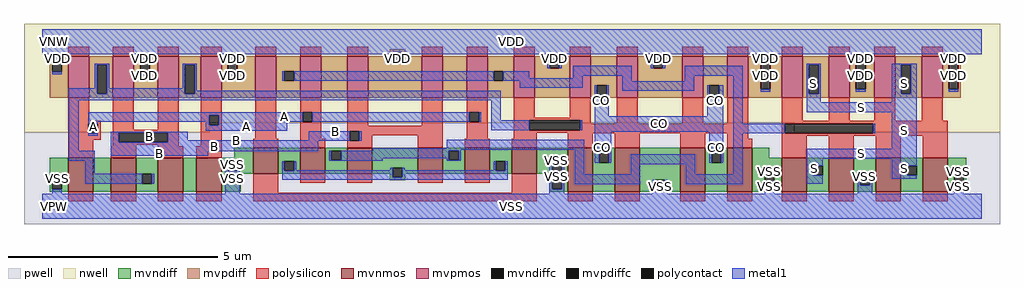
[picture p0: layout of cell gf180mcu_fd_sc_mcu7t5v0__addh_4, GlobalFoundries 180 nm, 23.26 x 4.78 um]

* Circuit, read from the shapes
.subckt gf180mcu_fd_sc_mcu7t5v0__addh_4 A B CO S VDD VNW VPW VSS
XM1 n1 A VSS VPW nfet_06v0 w=0.82u l=0.6u
XM2 n2 B n1 VPW nfet_06v0 w=0.82u l=0.6u
XM3 n3 B n2 VPW nfet_06v0 w=0.82u l=0.6u
XM4 VSS A n3 VPW nfet_06v0 w=0.82u l=0.6u
XM5 n4 n2 VSS VPW nfet_06v0 w=0.61u l=0.6u m=2
XM6 n5 A n4 VPW nfet_06v0 w=0.61u l=0.6u m=2
XM7 n4 B n5 VPW nfet_06v0 w=0.61u l=0.6u m=2
XM8 CO n2 VSS VPW nfet_06v0 w=1.05u l=0.6u m=4
XM9 S n5 VSS VPW nfet_06v0 w=0.82u l=0.6u m=4
XM10 n2 A VDD VNW pfet_06v0 w=0.99u l=0.5u m=2
XM11 VDD B n2 VNW pfet_06v0 w=0.99u l=0.5u m=2
XM12 n5 n2 VDD VNW pfet_06v0 w=0.99u l=0.5u m=2
XM13 n6 A n5 VNW pfet_06v0 w=0.99u l=0.5u
XM14 VDD B n6 VNW pfet_06v0 w=0.99u l=0.5u
XM15 n7 B VDD VNW pfet_06v0 w=0.99u l=0.5u
XM16 n5 A n7 VNW pfet_06v0 w=0.99u l=0.5u
XM17 CO n2 VDD VNW pfet_06v0 w=0.99u l=0.5u m=4
XM18 S n5 VDD VNW pfet_06v0 w=0.99u l=0.5u m=4
.ends

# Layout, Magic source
magic
tech gf180mcuD
magscale 1 10
<< nwell >>
rect -86 398 4566 870
rect -86 352 796 398
rect 3586 352 4566 398
<< pwell >>
rect 796 352 3586 398
rect -86 -86 4566 352
<< mvnmos >>
rect 124 68 244 232
rect 328 68 448 232
rect 552 68 672 232
rect 736 68 856 232
rect 1006 156 1126 278
rect 1230 156 1350 278
rect 1454 156 1574 278
rect 1790 156 1910 278
rect 2014 156 2134 278
rect 2238 156 2358 278
rect 2506 68 2626 278
rect 2730 68 2850 278
rect 3042 68 3162 278
rect 3266 68 3386 278
rect 3526 68 3646 232
rect 3750 68 3870 232
rect 3974 68 4094 232
rect 4198 68 4318 232
<< mvpmos >>
rect 124 518 224 716
rect 338 518 438 716
rect 552 518 652 716
rect 756 518 856 716
rect 1016 518 1116 716
rect 1230 518 1330 716
rect 1454 518 1554 716
rect 1810 518 1910 716
rect 2024 518 2124 716
rect 2248 518 2348 716
rect 2516 518 2616 716
rect 2740 518 2840 716
rect 3052 518 3152 716
rect 3266 518 3366 716
rect 3526 518 3626 716
rect 3750 518 3850 716
rect 3966 518 4066 716
rect 4192 518 4292 716
<< mvndiff >>
rect 916 232 1006 278
rect 36 127 124 232
rect 36 81 49 127
rect 95 81 124 127
rect 36 68 124 81
rect 244 68 328 232
rect 448 154 552 232
rect 448 108 477 154
rect 523 108 552 154
rect 448 68 552 108
rect 672 68 736 232
rect 856 215 1006 232
rect 856 169 885 215
rect 931 169 1006 215
rect 856 156 1006 169
rect 1126 215 1230 278
rect 1126 169 1155 215
rect 1201 169 1230 215
rect 1126 156 1230 169
rect 1350 265 1454 278
rect 1350 219 1379 265
rect 1425 219 1454 265
rect 1350 156 1454 219
rect 1574 183 1790 278
rect 1574 156 1671 183
rect 856 68 946 156
rect 1658 137 1671 156
rect 1717 156 1790 183
rect 1910 265 2014 278
rect 1910 219 1939 265
rect 1985 219 2014 265
rect 1910 156 2014 219
rect 2134 215 2238 278
rect 2134 169 2163 215
rect 2209 169 2238 215
rect 2134 156 2238 169
rect 2358 221 2506 278
rect 2358 156 2431 221
rect 1717 137 1730 156
rect 1658 124 1730 137
rect 2418 81 2431 156
rect 2477 81 2506 221
rect 2418 68 2506 81
rect 2626 253 2730 278
rect 2626 207 2655 253
rect 2701 207 2730 253
rect 2626 68 2730 207
rect 2850 127 3042 278
rect 2850 81 2923 127
rect 2969 81 3042 127
rect 2850 68 3042 81
rect 3162 253 3266 278
rect 3162 207 3191 253
rect 3237 207 3266 253
rect 3162 68 3266 207
rect 3386 232 3466 278
rect 3386 147 3526 232
rect 3386 101 3445 147
rect 3491 101 3526 147
rect 3386 68 3526 101
rect 3646 194 3750 232
rect 3646 148 3675 194
rect 3721 148 3750 194
rect 3646 68 3750 148
rect 3870 147 3974 232
rect 3870 101 3899 147
rect 3945 101 3974 147
rect 3870 68 3974 101
rect 4094 194 4198 232
rect 4094 148 4123 194
rect 4169 148 4198 194
rect 4094 68 4198 148
rect 4318 147 4406 232
rect 4318 101 4347 147
rect 4393 101 4406 147
rect 4318 68 4406 101
<< mvpdiff >>
rect 1658 735 1730 748
rect 1658 716 1671 735
rect 36 686 124 716
rect 36 640 49 686
rect 95 640 124 686
rect 36 518 124 640
rect 224 675 338 716
rect 224 535 263 675
rect 309 535 338 675
rect 224 518 338 535
rect 438 678 552 716
rect 438 632 467 678
rect 513 632 552 678
rect 438 518 552 632
rect 652 675 756 716
rect 652 535 681 675
rect 727 535 756 675
rect 652 518 756 535
rect 856 678 1016 716
rect 856 632 885 678
rect 931 632 1016 678
rect 856 518 1016 632
rect 1116 643 1230 716
rect 1116 597 1155 643
rect 1201 597 1230 643
rect 1116 518 1230 597
rect 1330 518 1454 716
rect 1554 689 1671 716
rect 1717 716 1730 735
rect 1717 689 1810 716
rect 1554 518 1810 689
rect 1910 518 2024 716
rect 2124 643 2248 716
rect 2124 597 2153 643
rect 2199 597 2248 643
rect 2124 518 2248 597
rect 2348 703 2516 716
rect 2348 657 2420 703
rect 2466 657 2516 703
rect 2348 518 2516 657
rect 2616 577 2740 716
rect 2616 531 2645 577
rect 2691 531 2740 577
rect 2616 518 2740 531
rect 2840 703 3052 716
rect 2840 657 2913 703
rect 2959 657 3052 703
rect 2840 518 3052 657
rect 3152 577 3266 716
rect 3152 531 3181 577
rect 3227 531 3266 577
rect 3152 518 3266 531
rect 3366 697 3526 716
rect 3366 557 3425 697
rect 3471 557 3526 697
rect 3366 518 3526 557
rect 3626 675 3750 716
rect 3626 535 3655 675
rect 3701 535 3750 675
rect 3626 518 3750 535
rect 3850 697 3966 716
rect 3850 557 3879 697
rect 3925 557 3966 697
rect 3850 518 3966 557
rect 4066 675 4192 716
rect 4066 535 4095 675
rect 4141 535 4192 675
rect 4066 518 4192 535
rect 4292 697 4380 716
rect 4292 557 4321 697
rect 4367 557 4380 697
rect 4292 518 4380 557
<< mvndiffc >>
rect 49 81 95 127
rect 477 108 523 154
rect 885 169 931 215
rect 1155 169 1201 215
rect 1379 219 1425 265
rect 1671 137 1717 183
rect 1939 219 1985 265
rect 2163 169 2209 215
rect 2431 81 2477 221
rect 2655 207 2701 253
rect 2923 81 2969 127
rect 3191 207 3237 253
rect 3445 101 3491 147
rect 3675 148 3721 194
rect 3899 101 3945 147
rect 4123 148 4169 194
rect 4347 101 4393 147
<< mvpdiffc >>
rect 49 640 95 686
rect 263 535 309 675
rect 467 632 513 678
rect 681 535 727 675
rect 885 632 931 678
rect 1155 597 1201 643
rect 1671 689 1717 735
rect 2153 597 2199 643
rect 2420 657 2466 703
rect 2645 531 2691 577
rect 2913 657 2959 703
rect 3181 531 3227 577
rect 3425 557 3471 697
rect 3655 535 3701 675
rect 3879 557 3925 697
rect 4095 535 4141 675
rect 4321 557 4367 697
<< polysilicon >>
rect 124 716 224 760
rect 338 716 438 760
rect 552 716 652 760
rect 756 716 856 760
rect 1016 716 1116 760
rect 1230 716 1330 760
rect 1454 716 1554 760
rect 1810 716 1910 760
rect 2024 716 2124 760
rect 2248 716 2348 760
rect 2516 716 2616 760
rect 2740 716 2840 760
rect 3052 716 3152 760
rect 3266 716 3366 760
rect 3526 716 3626 760
rect 3750 716 3850 760
rect 3966 716 4066 760
rect 4192 716 4292 760
rect 124 407 224 518
rect 124 394 279 407
rect 124 348 220 394
rect 266 348 279 394
rect 124 317 279 348
rect 338 364 438 518
rect 552 364 652 518
rect 338 351 652 364
rect 124 232 244 317
rect 338 305 365 351
rect 599 305 652 351
rect 338 292 652 305
rect 338 287 448 292
rect 328 232 448 287
rect 552 287 652 292
rect 756 433 856 518
rect 756 387 797 433
rect 843 387 856 433
rect 756 287 856 387
rect 1016 322 1116 518
rect 1230 449 1330 518
rect 1230 403 1243 449
rect 1289 403 1330 449
rect 1230 322 1330 403
rect 1454 384 1554 518
rect 1810 384 1910 518
rect 1454 357 1910 384
rect 552 232 672 287
rect 736 232 856 287
rect 1006 278 1126 322
rect 1230 278 1350 322
rect 1454 311 1467 357
rect 1513 338 1910 357
rect 1513 311 1574 338
rect 1454 278 1574 311
rect 1790 278 1910 338
rect 2024 449 2124 518
rect 2024 403 2037 449
rect 2083 403 2124 449
rect 2024 322 2124 403
rect 2248 422 2348 518
rect 2516 422 2616 518
rect 2248 409 2616 422
rect 2248 363 2323 409
rect 2565 394 2616 409
rect 2740 394 2840 518
rect 3052 394 3152 518
rect 3266 394 3366 518
rect 2565 363 3366 394
rect 2248 350 3366 363
rect 2248 322 2358 350
rect 2014 278 2134 322
rect 2238 278 2358 322
rect 2506 348 3366 350
rect 2506 278 2626 348
rect 2730 278 2850 348
rect 3042 278 3162 348
rect 3266 322 3366 348
rect 3526 407 3626 518
rect 3750 407 3850 518
rect 3966 407 4066 518
rect 4192 407 4292 518
rect 3526 394 4318 407
rect 3526 348 3539 394
rect 3961 348 4318 394
rect 3526 335 4318 348
rect 3266 278 3386 322
rect 124 24 244 68
rect 328 24 448 68
rect 552 24 672 68
rect 736 24 856 68
rect 1006 64 1126 156
rect 1230 112 1350 156
rect 1454 112 1574 156
rect 1790 112 1910 156
rect 2014 112 2134 156
rect 2238 64 2358 156
rect 3526 232 3646 335
rect 3750 232 3870 335
rect 3974 232 4094 335
rect 4198 232 4318 335
rect 1006 24 2358 64
rect 2506 24 2626 68
rect 2730 24 2850 68
rect 3042 24 3162 68
rect 3266 24 3386 68
rect 3526 24 3646 68
rect 3750 24 3870 68
rect 3974 24 4094 68
rect 4198 24 4318 68
<< polycontact >>
rect 220 348 266 394
rect 365 305 599 351
rect 797 387 843 433
rect 1243 403 1289 449
rect 1467 311 1513 357
rect 2037 403 2083 449
rect 2323 363 2565 409
rect 3539 348 3961 394
<< metal1 >>
rect 0 735 4480 844
rect 0 724 1671 735
rect 49 686 95 724
rect 467 678 513 724
rect 885 678 931 724
rect 1660 689 1671 724
rect 1717 724 4480 735
rect 1717 689 1728 724
rect 2409 703 2477 724
rect 49 629 95 640
rect 251 675 320 678
rect 251 563 263 675
rect 128 535 263 563
rect 309 563 320 675
rect 467 621 513 632
rect 670 675 738 678
rect 670 563 681 675
rect 309 535 681 563
rect 727 551 738 675
rect 2409 657 2420 703
rect 2466 657 2477 703
rect 2902 703 2970 724
rect 885 621 931 632
rect 1144 597 1155 643
rect 1201 597 2153 643
rect 2199 611 2323 643
rect 2532 623 2811 669
rect 2902 657 2913 703
rect 2959 657 2970 703
rect 3425 697 3471 724
rect 2532 611 2578 623
rect 2199 597 2578 611
rect 2277 565 2578 597
rect 2765 596 2811 623
rect 3063 623 3340 669
rect 3063 596 3109 623
rect 727 535 2186 551
rect 128 505 2186 535
rect 128 264 174 505
rect 220 433 1243 449
rect 220 403 797 433
rect 220 394 266 403
rect 781 387 797 403
rect 843 403 1243 433
rect 1289 403 2037 449
rect 2083 403 2094 449
rect 2140 409 2186 505
rect 2634 531 2645 577
rect 2691 531 2702 577
rect 2765 550 3109 596
rect 2634 430 2702 531
rect 3170 531 3181 577
rect 3227 531 3248 577
rect 3170 430 3248 531
rect 843 387 1169 403
rect 781 360 1169 387
rect 2140 363 2323 409
rect 2565 363 2576 409
rect 220 337 266 348
rect 328 351 694 355
rect 328 305 365 351
rect 599 314 694 351
rect 1271 314 1467 357
rect 599 311 1467 314
rect 1513 311 1524 357
rect 2634 354 3248 430
rect 599 305 1317 311
rect 128 218 251 264
rect 328 261 1317 305
rect 1928 276 2584 317
rect 1577 270 2584 276
rect 1577 265 1996 270
rect 328 240 793 261
rect 1368 219 1379 265
rect 1425 229 1939 265
rect 1425 219 1623 229
rect 1368 218 1623 219
rect 1928 219 1939 229
rect 1985 219 1996 265
rect 1928 218 1996 219
rect 2418 221 2488 224
rect 205 154 251 218
rect 874 169 885 215
rect 931 169 942 215
rect 49 127 95 138
rect 205 108 477 154
rect 523 108 534 154
rect 49 60 95 81
rect 874 60 942 169
rect 1144 169 1155 215
rect 1201 172 1212 215
rect 1660 172 1671 183
rect 1201 169 1671 172
rect 1144 137 1671 169
rect 1717 172 1728 183
rect 2152 172 2163 215
rect 1717 169 2163 172
rect 2209 169 2220 215
rect 1717 137 2220 169
rect 1144 126 2220 137
rect 2418 81 2431 221
rect 2477 81 2488 221
rect 2538 152 2584 270
rect 2634 253 2712 354
rect 2634 207 2655 253
rect 2701 207 2712 253
rect 3180 253 3248 354
rect 2806 201 3113 247
rect 3180 207 3191 253
rect 3237 207 3248 253
rect 3294 394 3340 623
rect 3879 697 3925 724
rect 3425 546 3471 557
rect 3644 675 3712 678
rect 3644 535 3655 675
rect 3701 535 3712 675
rect 4321 697 4367 724
rect 3879 546 3925 557
rect 4050 675 4169 678
rect 3644 496 3712 535
rect 4050 535 4095 675
rect 4141 535 4169 675
rect 4321 546 4367 557
rect 4050 496 4169 535
rect 3644 449 4169 496
rect 3294 348 3539 394
rect 3961 348 3972 394
rect 2806 152 2852 201
rect 2538 106 2852 152
rect 3067 152 3113 201
rect 3294 152 3340 348
rect 4050 274 4169 449
rect 3644 227 4169 274
rect 3644 194 3721 227
rect 2418 60 2488 81
rect 2912 81 2923 127
rect 2969 81 2980 127
rect 3067 106 3340 152
rect 3445 147 3491 187
rect 2912 60 2980 81
rect 3644 148 3675 194
rect 3644 108 3721 148
rect 4050 194 4169 227
rect 4050 148 4123 194
rect 3445 60 3491 101
rect 3888 101 3899 147
rect 3945 101 3956 147
rect 4050 130 4169 148
rect 4347 147 4393 187
rect 3888 60 3956 101
rect 4347 60 4393 101
rect 0 -60 4480 60
<< labels >>
flabel metal1 s 1271 355 1524 357 0 FreeSans 600 0 0 0 B
port 2 nsew default input
flabel metal1 s 3170 430 3248 577 0 FreeSans 600 0 0 0 CO
port 3 nsew default output
flabel metal1 s 4050 496 4169 678 0 FreeSans 600 0 0 0 S
port 4 nsew default output
flabel metal1 s 0 724 4480 844 0 FreeSans 600 0 0 0 VDD
port 5 nsew power bidirectional abutment
flabel metal1 s 2418 215 2488 224 0 FreeSans 600 0 0 0 VSS
port 8 nsew ground bidirectional abutment
flabel metal1 s 220 403 2094 449 0 FreeSans 600 0 0 0 A
port 1 nsew default input
flabel nwell s 10 734 110 834 0 FreeSans 400 0 0 0 VNW
port 6 nsew power bidirectional
flabel pwell s 10 -50 110 50 0 FreeSans 400 0 0 0 VPW
port 7 nsew ground bidirectional
rlabel metal1 s 781 360 1169 403 1 A
port 1 nsew default input
rlabel metal1 s 220 360 266 403 1 A
port 1 nsew default input
rlabel metal1 s 220 337 266 360 1 A
port 1 nsew default input
rlabel metal1 s 1271 314 1524 355 1 B
port 2 nsew default input
rlabel metal1 s 328 314 694 355 1 B
port 2 nsew default input
rlabel metal1 s 328 311 1524 314 1 B
port 2 nsew default input
rlabel metal1 s 328 261 1317 311 1 B
port 2 nsew default input
rlabel metal1 s 328 240 793 261 1 B
port 2 nsew default input
rlabel metal1 s 2634 430 2702 577 1 CO
port 3 nsew default output
rlabel metal1 s 2634 354 3248 430 1 CO
port 3 nsew default output
rlabel metal1 s 3180 207 3248 354 1 CO
port 3 nsew default output
rlabel metal1 s 2634 207 2712 354 1 CO
port 3 nsew default output
rlabel metal1 s 3644 496 3712 678 1 S
port 4 nsew default output
rlabel metal1 s 3644 449 4169 496 1 S
port 4 nsew default output
rlabel metal1 s 4050 274 4169 449 1 S
port 4 nsew default output
rlabel metal1 s 3644 227 4169 274 1 S
port 4 nsew default output
rlabel metal1 s 4050 130 4169 227 1 S
port 4 nsew default output
rlabel metal1 s 3644 130 3721 227 1 S
port 4 nsew default output
rlabel metal1 s 3644 108 3721 130 1 S
port 4 nsew default output
rlabel metal1 s 4321 689 4367 724 1 VDD
port 5 nsew power bidirectional abutment
rlabel metal1 s 3879 689 3925 724 1 VDD
port 5 nsew power bidirectional abutment
rlabel metal1 s 3425 689 3471 724 1 VDD
port 5 nsew power bidirectional abutment
rlabel metal1 s 2902 689 2970 724 1 VDD
port 5 nsew power bidirectional abutment
rlabel metal1 s 2409 689 2477 724 1 VDD
port 5 nsew power bidirectional abutment
rlabel metal1 s 1660 689 1728 724 1 VDD
port 5 nsew power bidirectional abutment
rlabel metal1 s 885 689 931 724 1 VDD
port 5 nsew power bidirectional abutment
rlabel metal1 s 467 689 513 724 1 VDD
port 5 nsew power bidirectional abutment
rlabel metal1 s 49 689 95 724 1 VDD
port 5 nsew power bidirectional abutment
rlabel metal1 s 4321 657 4367 689 1 VDD
port 5 nsew power bidirectional abutment
rlabel metal1 s 3879 657 3925 689 1 VDD
port 5 nsew power bidirectional abutment
rlabel metal1 s 3425 657 3471 689 1 VDD
port 5 nsew power bidirectional abutment
rlabel metal1 s 2902 657 2970 689 1 VDD
port 5 nsew power bidirectional abutment
rlabel metal1 s 2409 657 2477 689 1 VDD
port 5 nsew power bidirectional abutment
rlabel metal1 s 885 657 931 689 1 VDD
port 5 nsew power bidirectional abutment
rlabel metal1 s 467 657 513 689 1 VDD
port 5 nsew power bidirectional abutment
rlabel metal1 s 49 657 95 689 1 VDD
port 5 nsew power bidirectional abutment
rlabel metal1 s 4321 629 4367 657 1 VDD
port 5 nsew power bidirectional abutment
rlabel metal1 s 3879 629 3925 657 1 VDD
port 5 nsew power bidirectional abutment
rlabel metal1 s 3425 629 3471 657 1 VDD
port 5 nsew power bidirectional abutment
rlabel metal1 s 885 629 931 657 1 VDD
port 5 nsew power bidirectional abutment
rlabel metal1 s 467 629 513 657 1 VDD
port 5 nsew power bidirectional abutment
rlabel metal1 s 49 629 95 657 1 VDD
port 5 nsew power bidirectional abutment
rlabel metal1 s 4321 621 4367 629 1 VDD
port 5 nsew power bidirectional abutment
rlabel metal1 s 3879 621 3925 629 1 VDD
port 5 nsew power bidirectional abutment
rlabel metal1 s 3425 621 3471 629 1 VDD
port 5 nsew power bidirectional abutment
rlabel metal1 s 885 621 931 629 1 VDD
port 5 nsew power bidirectional abutment
rlabel metal1 s 467 621 513 629 1 VDD
port 5 nsew power bidirectional abutment
rlabel metal1 s 4321 546 4367 621 1 VDD
port 5 nsew power bidirectional abutment
rlabel metal1 s 3879 546 3925 621 1 VDD
port 5 nsew power bidirectional abutment
rlabel metal1 s 3425 546 3471 621 1 VDD
port 5 nsew power bidirectional abutment
rlabel metal1 s 2418 187 2488 215 1 VSS
port 8 nsew ground bidirectional abutment
rlabel metal1 s 874 187 942 215 1 VSS
port 8 nsew ground bidirectional abutment
rlabel metal1 s 4347 147 4393 187 1 VSS
port 8 nsew ground bidirectional abutment
rlabel metal1 s 3445 147 3491 187 1 VSS
port 8 nsew ground bidirectional abutment
rlabel metal1 s 2418 147 2488 187 1 VSS
port 8 nsew ground bidirectional abutment
rlabel metal1 s 874 147 942 187 1 VSS
port 8 nsew ground bidirectional abutment
rlabel metal1 s 4347 138 4393 147 1 VSS
port 8 nsew ground bidirectional abutment
rlabel metal1 s 3888 138 3956 147 1 VSS
port 8 nsew ground bidirectional abutment
rlabel metal1 s 3445 138 3491 147 1 VSS
port 8 nsew ground bidirectional abutment
rlabel metal1 s 2418 138 2488 147 1 VSS
port 8 nsew ground bidirectional abutment
rlabel metal1 s 874 138 942 147 1 VSS
port 8 nsew ground bidirectional abutment
rlabel metal1 s 4347 127 4393 138 1 VSS
port 8 nsew ground bidirectional abutment
rlabel metal1 s 3888 127 3956 138 1 VSS
port 8 nsew ground bidirectional abutment
rlabel metal1 s 3445 127 3491 138 1 VSS
port 8 nsew ground bidirectional abutment
rlabel metal1 s 2418 127 2488 138 1 VSS
port 8 nsew ground bidirectional abutment
rlabel metal1 s 874 127 942 138 1 VSS
port 8 nsew ground bidirectional abutment
rlabel metal1 s 49 127 95 138 1 VSS
port 8 nsew ground bidirectional abutment
rlabel metal1 s 4347 60 4393 127 1 VSS
port 8 nsew ground bidirectional abutment
rlabel metal1 s 3888 60 3956 127 1 VSS
port 8 nsew ground bidirectional abutment
rlabel metal1 s 3445 60 3491 127 1 VSS
port 8 nsew ground bidirectional abutment
rlabel metal1 s 2912 60 2980 127 1 VSS
port 8 nsew ground bidirectional abutment
rlabel metal1 s 2418 60 2488 127 1 VSS
port 8 nsew ground bidirectional abutment
rlabel metal1 s 874 60 942 127 1 VSS
port 8 nsew ground bidirectional abutment
rlabel metal1 s 49 60 95 127 1 VSS
port 8 nsew ground bidirectional abutment
rlabel metal1 s 0 -60 4480 60 1 VSS
port 8 nsew ground bidirectional abutment
<< properties >>
string FIXED_BBOX 0 0 4480 784
string GDS_END 1208908
string GDS_FILE $PDKPATH/libs.ref/gf180mcu_fd_sc_mcu7t5v0/gds/gf180mcu_fd_sc_mcu7t5v0.gds
string GDS_START 1200252
string LEFclass core
string LEFsite GF018hv5v_mcu_sc7
string LEFsymmetry X Y
<< end >>
